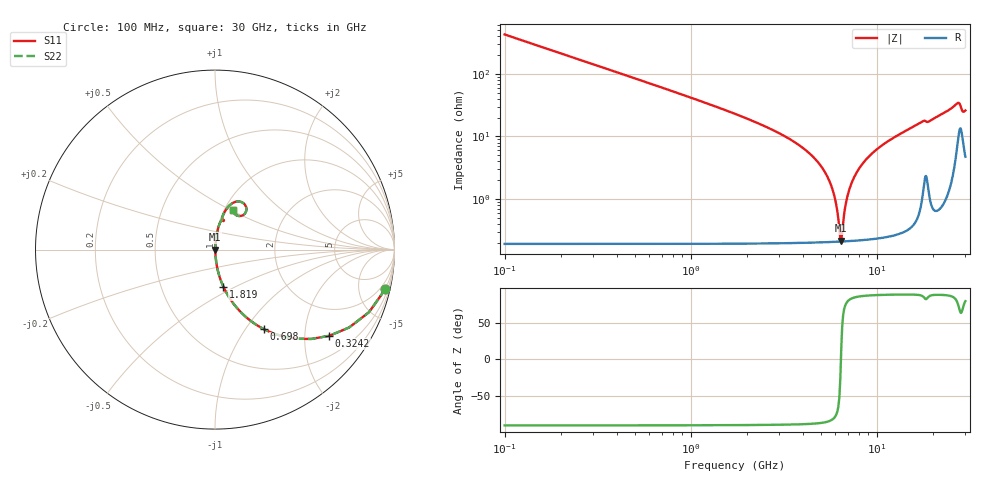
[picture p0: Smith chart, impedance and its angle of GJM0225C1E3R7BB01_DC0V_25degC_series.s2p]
!Murata Part Number: GJM0225C1E3R7BB01
!These Parameters are Measured in Series Mode Connection
!  o--ll--o
!Port1  Port2
!  o------o
!Operation Temp=25[degC], DC Bias Voltage=0[V]
!Freq. Start=100[MHz] Stop=30[GHz], 401[Steps]
!Data Generated on Feb 1, 2023
# Hz S RI R 50
!Freq.(Hz) S11(Real) S11(Imag) S21(Real) S21(Imag) S12(Real) S12(Imag) S22(Real) S22(Imag)
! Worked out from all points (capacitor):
!   401 points, 100 MHz to 30 GHz, reference 50 ohm
!   read as one part in series: C = 3.7 pF near 249.5 MHz
!   lowest |Z| = 215 mohm at 6.454 GHz (marker M1)
!   series resonance near 6.428 GHz, so ESL is about 170 pH
!   S11 on the Smith chart (normalised r, x): 100 MHz: 1.00, -8.60; 324.2 MHz: 1.00, -2.65; 698 MHz: 1.00, -1.22; 1.819 GHz: 1.00, -0.44; 30 GHz: 1.09, +0.51
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1e8  0.9486 -0.2206  0.0514 0.2206  0.0514 0.2206  0.9486 -0.2206
3.2425e8  0.6363 -0.4803  0.3637 0.4803  0.3637 0.4803  0.6363 -0.4803
6.98e8  0.2712 -0.443  0.7288 0.443  0.7288 0.443  0.2712 -0.443
1.1465e9  0.1179 -0.3199  0.8821 0.3199  0.8821 0.3199  0.1179 -0.3199
1.81925e9  0.0469 -0.207  0.9531 0.207  0.9531 0.207  0.0469 -0.207
4.1365e9  0.00566 -0.0605  0.9943 0.0605  0.9943 0.0605  0.00566 -0.0605
5.10825e9  0.00297 -0.0309  0.997 0.0309  0.997 0.0309  0.00297 -0.0309
5.85575e9  0.0022 -0.0125  0.9978 0.0125  0.9978 0.0125  0.0022 -0.0125
6.08e9  0.00211 -0.00744  0.9979 0.00744  0.9979 0.00744  0.00211 -0.00744
6.30425e9  0.00207 -0.00259  0.9979 0.00259  0.9979 0.00259  0.00207 -0.00259
6.45375e9  0.00207 0.000545  0.9979 -0.000545  0.9979 -0.000545  0.00207 0.000545
6.5285e9  0.00208 0.00209  0.9979 -0.00209  0.9979 -0.00209  0.00208 0.00209
6.90225e9  0.00219 0.00955  0.9978 -0.00955  0.9978 -0.00955  0.00219 0.00955
7.50025e9  0.00256 0.0208  0.9974 -0.0208  0.9974 -0.0208  0.00256 0.0208
8.54675e9  0.0037 0.0387  0.9963 -0.0387  0.9963 -0.0387  0.0037 0.0387
1.01165e10  0.00631 0.063  0.9937 -0.063  0.9937 -0.063  0.00631 0.063
1.505e10  0.0205 0.1298  0.9795 -0.1298  0.9795 -0.1298  0.0205 0.1298
2.005825e10  0.041 0.1809  0.959 -0.1809  0.959 -0.1809  0.041 0.1809
2.50665e10  0.0855 0.2504  0.9145 -0.2504  0.9145 -0.2504  0.0855 0.2504
2.7907e10  0.175 0.227  0.825 -0.227  0.825 -0.227  0.175 0.227
2.89535e10  0.1262 0.1885  0.8738 -0.1885  0.8738 -0.1885  0.1262 0.1885
3e10  0.0992 0.2208  0.9008 -0.2208  0.9008 -0.2208  0.0992 0.2208
